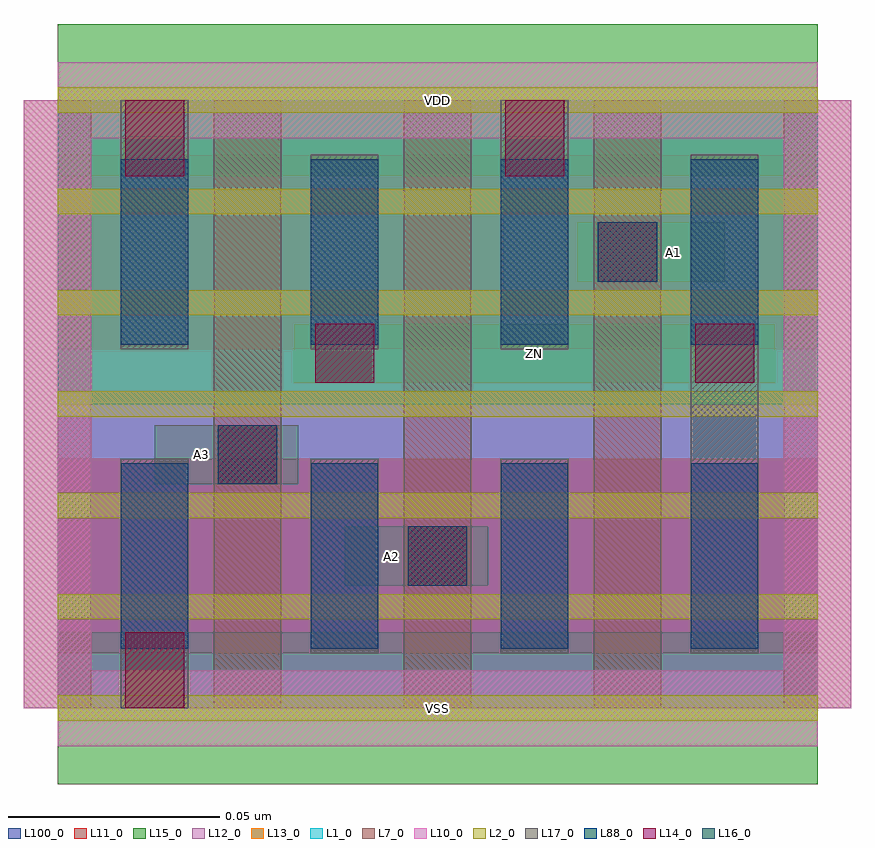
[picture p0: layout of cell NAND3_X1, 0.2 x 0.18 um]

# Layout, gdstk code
import gdstk
lib = gdstk.Library(unit=1e-6, precision=1e-09)
def R(c, l, rs):  # rectangles x0, y0, x1, y1
    for r in rs: c.add(gdstk.rectangle(r[:2], r[2:], *l))
def A(c, l, x, y, w, h, nx, ny, dx, dy):  # array of equal rectangles
    R(c, l, [(x+i*dx, y+j*dy, x+i*dx+w, y+j*dy+h) for i in range(nx) for j in range(ny)])
def P(c, l, *ps):  # polygons
    for p in ps: c.add(gdstk.Polygon(p, *l))
L1_0 = (1, 0)
L2_0 = (2, 0)
L7_0 = (7, 0)
L10_0 = (10, 0)
L11_0 = (11, 0)
L12_0 = (12, 0)
L13_0 = (13, 0)
L14_0 = (14, 0)
L15_0 = (15, 0)
L16_0 = (16, 0)
L17_0 = (17, 0)
L88_0 = (88, 0)
L100_0 = (100, 0)

nand3_x1 = lib.new_cell('NAND3_X1')
R(nand3_x1, L1_0, [(0,0.072,0.18,0.144)])
A(nand3_x1, L2_0, 0, -0.003, 0.18, 0.006, 1, 7, 0, 0.024)
A(nand3_x1, L7_0, -0.008, 0, 0.016, 0.144, 5, 1, 0.045, 0)
P(nand3_x1, L10_0, [(0,-0.009),(0,0),(-0.008,0),(-0.008,0.135),(0.008,0.135),(0.008,0.009),(0.172,0.009),(0.172,0.135),(-0.008,0.135),(-0.008,0.144),(0,0.144),(0,0.153),(0.18,0.153),(0.18,0.144),(0.188,0.144),(0.188,0),(0.18,0),(0.18,-0.009)])
R(nand3_x1, L11_0, [(0,0.013,0.18,0.059), (0,0.085,0.18,0.131)])
R(nand3_x1, L12_0, [(0,0,0.18,0.072)])
R(nand3_x1, L13_0, [(0,0.072,0.18,0.144)])
R(nand3_x1, L14_0, [(0.016,0,0.03,0.018), (0.083,0.029,0.097,0.043), (0.038,0.053,0.052,0.067), (0.061,0.077,0.075,0.091), (0.151,0.077,0.165,0.091), (0.128,0.101,0.142,0.115), (0.016,0.126,0.03,0.144), (0.106,0.126,0.12,0.144)])
R(nand3_x1, L15_0, [(0,-0.018,0.18,0.018), (0.068,0.029,0.102,0.043), (0.023,0.053,0.057,0.067), (0.056,0.077,0.17,0.091), (0.123,0.101,0.158,0.115), (0,0.126,0.18,0.162)])
R(nand3_x1, L16_0, [(0.083,0.029,0.097,0.043), (0.038,0.053,0.052,0.067), (0.128,0.101,0.142,0.115)])
R(nand3_x1, L17_0, [(0.015,0,0.031,0.059), (0.06,0.013,0.076,0.059), (0.105,0.013,0.121,0.059), (0.15,0.013,0.166,0.131), (0.015,0.085,0.031,0.144), (0.06,0.085,0.076,0.131), (0.105,0.085,0.121,0.144)])
A(nand3_x1, L88_0, 0.015, 0.014, 0.016, 0.044, 4, 2, 0.045, 0.072)
R(nand3_x1, L100_0, [(0,0,0.18,0.144)])
nand3_x1.add(gdstk.Label('A3', (0.034,0.06), layer=15, texttype=251))
nand3_x1.add(gdstk.Label('VSS', (0.09,0), layer=15, texttype=251))
nand3_x1.add(gdstk.Label('VDD', (0.09,0.144), layer=15, texttype=251))
nand3_x1.add(gdstk.Label('A1', (0.146,0.108), layer=15, texttype=251))
nand3_x1.add(gdstk.Label('VSS', (0.09,0), layer=15, texttype=251))
nand3_x1.add(gdstk.Label('VDD', (0.09,0.144), layer=15, texttype=251))
nand3_x1.add(gdstk.Label('A2', (0.079,0.036), layer=15, texttype=251))
nand3_x1.add(gdstk.Label('VSS', (0.09,0), layer=15, texttype=251))
nand3_x1.add(gdstk.Label('VDD', (0.09,0.144), layer=15, texttype=251))
nand3_x1.add(gdstk.Label('ZN', (0.113,0.084), layer=15, texttype=251))
nand3_x1.add(gdstk.Label('VSS', (0.09,0), layer=15, texttype=251))
nand3_x1.add(gdstk.Label('VDD', (0.09,0.144), layer=15, texttype=251))
nand3_x1.add(gdstk.Label('VSS', (0.09,0), layer=3, texttype=251))
nand3_x1.add(gdstk.Label('VSS', (0.09,0), layer=3, texttype=251))
nand3_x1.add(gdstk.Label('VSS', (0.09,0), layer=3, texttype=251))
nand3_x1.add(gdstk.Label('VSS', (0.09,0), layer=3, texttype=251))
nand3_x1.add(gdstk.Label('VDD', (0.09,0.144), layer=1, texttype=251))
nand3_x1.add(gdstk.Label('VDD', (0.09,0.144), layer=1, texttype=251))
nand3_x1.add(gdstk.Label('VDD', (0.09,0.144), layer=1, texttype=251))
nand3_x1.add(gdstk.Label('VDD', (0.09,0.144), layer=1, texttype=251))

lib.write_gds('NAND3_X1.gds')
